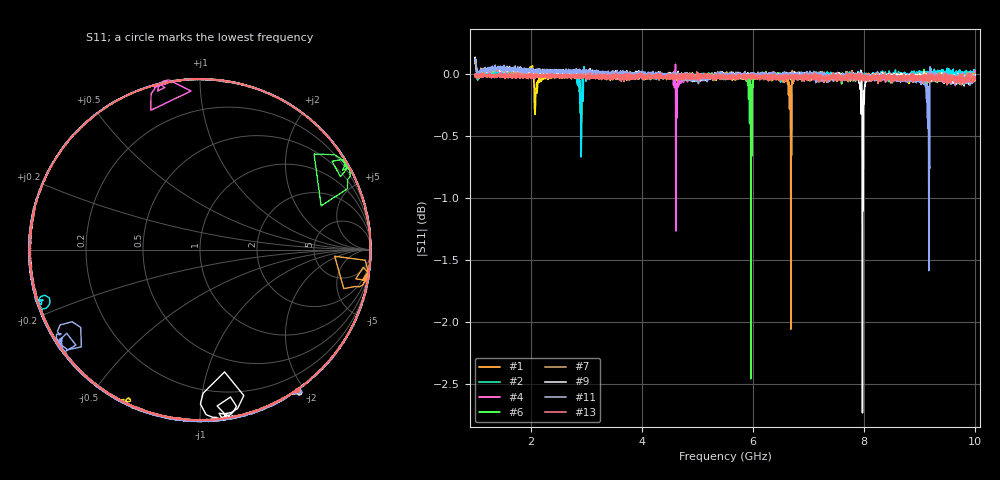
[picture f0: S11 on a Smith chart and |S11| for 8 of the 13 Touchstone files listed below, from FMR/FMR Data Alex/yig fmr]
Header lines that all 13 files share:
#  HZ  S  RI  R  50.0
! Rohde & Schwarz ZVL13 2Ports - Version 3.31 - 1303.6509k13 SN: 101088
! Data & Calibration Information:
! Trc2:S21(Trans Norm)
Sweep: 1 GHz to 10 GHz
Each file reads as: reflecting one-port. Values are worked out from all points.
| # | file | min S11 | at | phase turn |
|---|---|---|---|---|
| 1 | YIG-25mT.s1p | -0.3 dB | 2.08 GHz | -498 deg |
| 2 | YIG-45mT.s1p | -0.7 dB | 2.908 GHz | -499 deg |
| 3 | YIG-67mT.s1p | -2.7 dB | 3.768 GHz | -499 deg |
| 4 | YIG-91mT.s1p | -1.3 dB | 4.614 GHz | -498 deg |
| 5 | YIG-112mT.s1p | -2.0 dB | 5.299 GHz | -498 deg |
| 6 | YIG-132mT.s1p | -2.5 dB | 5.965 GHz | -498 deg |
| 7 | YIG-154mT.s1p | -2.1 dB | 6.685 GHz | -498 deg |
| 8 | YIG-175mT.s1p | -1.5 dB | 7.326 GHz | -498 deg |
| 9 | YIG-195mT.s1p | -2.7 dB | 7.974 GHz | -498 deg |
| 10 | YIG-215mT.s1p | -2.1 dB | 8.598 GHz | -498 deg |
| 11 | YIG-233mT.s1p | -1.6 dB | 9.17 GHz | -498 deg |
| 12 | YIG-254mT.s1p | -1.2 dB | 9.793 GHz | -498 deg |
| 13 | YIG-BACKGROUND.s1p | -0.1 dB | 9.752 GHz | -499 deg |
